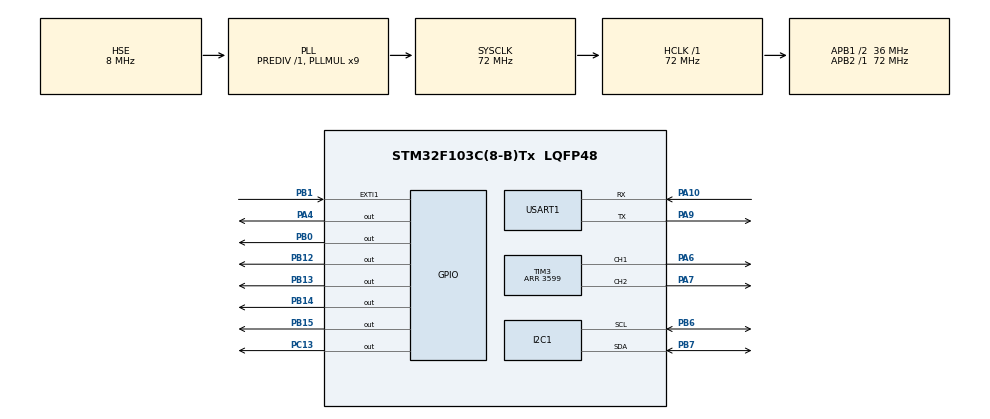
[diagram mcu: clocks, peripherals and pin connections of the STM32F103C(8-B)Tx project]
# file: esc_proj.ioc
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I2C1.I2C_Mode=I2C_Fast
Mcu.Family=STM32F1
Mcu.Name=STM32F103C(8-B)Tx
Mcu.Package=LQFP48
NVIC.EXTI1_IRQn=true\:2\:0\:true\:false\:true\:true\:true\:true
NVIC.PriorityGroup=NVIC_PRIORITYGROUP_4
NVIC.TIM4_IRQn=true\:15\:0\:false\:false\:true\:false\:true\:true
NVIC.TimeBase=TIM4_IRQn
NVIC.TimeBaseIP=TIM4
NVIC.USART1_IRQn=true\:0\:0\:false\:false\:true\:true\:true\:true
PA10.Mode=Asynchronous
PA10.Signal=USART1_RX
PA13.Mode=Serial_Wire
PA13.Signal=SYS_JTMS-SWDIO
PA14.Mode=Serial_Wire
PA14.Signal=SYS_JTCK-SWCLK
PA4.Signal=GPIO_Output
PA6.Signal=S_TIM3_CH1
PA7.Signal=S_TIM3_CH2
PA9.Mode=Asynchronous
PA9.Signal=USART1_TX
PB0.Signal=GPIO_Output
PB1.GPIO_ModeDefaultEXTI=GPIO_MODE_IT_RISING_FALLING
PB1.Signal=GPXTI1
PB12.Signal=GPIO_Output
PB13.Signal=GPIO_Output
PB14.Signal=GPIO_Output
PB15.Signal=GPIO_Output
PB6.Mode=I2C
PB6.Signal=I2C1_SCL
PB7.Mode=I2C
PB7.Signal=I2C1_SDA
PC13-TAMPER-RTC.Signal=GPIO_Output
PD0-OSC_IN.Mode=HSE-External-Oscillator
PD0-OSC_IN.Signal=RCC_OSC_IN
PD1-OSC_OUT.Mode=HSE-External-Oscillator
PD1-OSC_OUT.Signal=RCC_OSC_OUT
ProjectManager.HeapSize=0x200
ProjectManager.StackSize=0x400
ProjectManager.TargetToolchain=STM32CubeIDE
RCC.AHBFreq_Value=72000000
RCC.APB1CLKDivider=RCC_HCLK_DIV2
RCC.APB1Freq_Value=36000000
RCC.APB1TimFreq_Value=72000000
RCC.APB2Freq_Value=72000000
RCC.APB2TimFreq_Value=72000000
RCC.HCLKFreq_Value=72000000
RCC.PLLMUL=RCC_PLL_MUL9
RCC.PLLSourceVirtual=RCC_PLLSOURCE_HSE
RCC.SYSCLKFreq_VALUE=72000000
RCC.SYSCLKSource=RCC_SYSCLKSOURCE_PLLCLK
RCC.USBFreq_Value=72000000
SH.S_TIM3_CH1.0=TIM3_CH1,PWM Generation1 CH1
SH.S_TIM3_CH2.0=TIM3_CH2,PWM Generation2 CH2
TIM3.Channel-PWM\ Generation1\ CH1=TIM_CHANNEL_1
TIM3.Channel-PWM\ Generation2\ CH2=TIM_CHANNEL_2
TIM3.Period=3599
USART1.VirtualMode=VM_ASYNC
VP_SYS_VS_tim4.Mode=TIM4
board=custom

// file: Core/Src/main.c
/* USER CODE BEGIN Header */
/**
  ******************************************************************************
  * @file           : main.c
  * @brief          : Main program body
  ******************************************************************************
  * @attention
  *
  * Copyright (c) 2026 STMicroelectronics.
  * All rights reserved.
  *
  * This software is licensed under terms that can be found in the LICENSE file
  * in the root directory of this software component.
  * If no LICENSE file comes with this software, it is provided AS-IS.
  *
  ******************************************************************************
  */
/* USER CODE END Header */
#include "main.h"

/* USER CODE BEGIN Includes */
   #include <stdio.h>
#include <string.h>
/* USER CODE END Includes */

I2C_HandleTypeDef hi2c1;

TIM_HandleTypeDef htim3;

UART_HandleTypeDef huart1;

/* USER CODE BEGIN PV */

#define MAX_TASKS   4
#define STACK_SIZE  512   // 256 words = 2048 bytes per task

typedef enum {
    TASK_READY = 0,
    TASK_RUNNING,
    TASK_BLOCKED
} TaskState_t;

typedef struct {
    uint32_t   *stackPtr;
    uint32_t    priority;
    TaskState_t state;
    uint32_t    delayTicks;
} TCB_t;

TCB_t    TCB_Table[MAX_TASKS];
uint32_t Task_Stacks[MAX_TASKS][STACK_SIZE] __attribute__((aligned(8)));
uint8_t  current_task_id = 0;

volatile uint32_t sys_ticks = 0;          // incremented by our own SysTick
volatile uint8_t  scheduler_running = 0;
volatile uint32_t count_high = 0, count_mid = 0, count_low = 0;
volatile uint32_t echo_start = 0;
volatile uint32_t echo_width_cycles = 0;
volatile uint8_t  echo_done = 0;
volatile uint32_t distance_cm = 999;     // 999 = nothing in range
volatile uint8_t  obstacle_near = 0;
volatile uint32_t exti_count = 0;
volatile uint32_t deadline_misses = 0;
volatile uint32_t imu_count   = 0;
volatile uint32_t imu_min_us  = 0xFFFFFFFF;
volatile uint32_t imu_max_us  = 0;
volatile int32_t ax_mg = 0, ay_mg = 0, az_mg = 0;   // milli-g
volatile int32_t gz_dps_x10 = 0;                    // tenths of deg/s
volatile uint32_t imu_read_max_us = 0;              // slowest I2C read
#define SKID_ON_DPS_X10   300     // 30.0 deg/s
#define SKID_OFF_DPS_X10  200     // 20.0 deg/s
#define SKID_ON_SAMPLES   5       // 5 x 2 ms  = 10 ms
#define SKID_OFF_SAMPLES  25      // 25 x 2 ms = 50 ms

volatile int32_t  expected_yaw_x10 = 0;   // will come from the motor commands later
volatile uint8_t  skid_flag   = 0;
volatile uint32_t skid_events = 0;
volatile uint32_t i2c_errors = 0;
volatile uint32_t mpu_reinits = 0;
#define IMU_STALE_MS 20            // no good read for 20 ms = data is stale
volatile uint32_t imu_last_ok_tick = 0;
volatile uint8_t  imu_valid = 0;
int32_t ax_off = 0, ay_off = 0, gz_off = 0;   // raw-count offsets from calibration

// ---- virtual skid correction (no motors: outputs go to telemetry/dashboard) ----
#define BASE_SPEED_PCT      60     // commanded straight-line speed
#define KP_DIV              10     // correction % = yaw error (0.1 deg/s units) / 10
#define CORR_MAX_PCT        40
#define CORR_DEADBAND_X10   50     // ignore yaw errors under 5.0 deg/s
#define SKID_THROTTLE_PCT   50     // while skidding, speed is cut to 50%

volatile int32_t cmd_left = 0, cmd_right = 0;   // virtual wheel commands, 0..100 %
volatile uint8_t  rx_byte;
static char       rx_line[24];
static uint8_t    rx_len = 0;
volatile int32_t  tgt_speed_pct = 0;     // set from the PC
volatile int32_t  accel_cms2    = 120;   // set from the PC
volatile uint32_t rx_cmds       = 0;     // count of valid commands received
volatile int32_t corr_pct = 0;                  // steering correction applied
volatile uint8_t ctrl_state = 0;   // 0 run, 1 skid (throttle cut), 2 obstacle stop, 3 sensor fault stop

/* USER CODE END PV */

void SystemClock_Config(void);
static void MX_GPIO_Init(void);
static void MX_USART1_UART_Init(void);
static void MX_I2C1_Init(void);
static void MX_TIM3_Init(void);

/* USER CODE BEGIN 0 */
static void delay_us(uint32_t us)
{
    uint32_t start = DWT->CYCCNT;
    uint32_t ticks = us * 72;            // 72 cycles per microsecond
    while ((DWT->CYCCNT - start) < ticks);
}
// Frees a bus where the sensor is holding SDA low, then restarts I2C1
static void i2c_bus_recover(void)
{
    HAL_I2C_DeInit(&hi2c1);

    GPIO_InitTypeDef g = {0};
    g.Pin   = GPIO_PIN_6 | GPIO_PIN_7;           // PB6 = SCL, PB7 = SDA
    g.Mode  = GPIO_MODE_OUTPUT_OD;
    g.Pull  = GPIO_NOPULL;
    g.Speed = GPIO_SPEED_FREQ_HIGH;
    HAL_GPIO_Init(GPIOB, &g);

    HAL_GPIO_WritePin(GPIOB, GPIO_PIN_6 | GPIO_PIN_7, GPIO_PIN_SET);
    delay_us(10);
    for (int i = 0; i < 9; i++) {                // clock out a stuck slave
        HAL_GPIO_WritePin(GPIOB, GPIO_PIN_6, GPIO_PIN_RESET); delay_us(10);
        HAL_GPIO_WritePin(GPIOB, GPIO_PIN_6, GPIO_PIN_SET);   delay_us(10);
    }
    HAL_GPIO_WritePin(GPIOB, GPIO_PIN_7, GPIO_PIN_RESET); delay_us(10);   // STOP
    HAL_GPIO_WritePin(GPIOB, GPIO_PIN_6, GPIO_PIN_SET);   delay_us(10);
    HAL_GPIO_WritePin(GPIOB, GPIO_PIN_7, GPIO_PIN_SET);   delay_us(10);

    HAL_I2C_Init(&hi2c1);                        // restores the I2C pin setup
}

#define MPU_ADDR (0x68 << 1)
static int mpu_write_verify(uint8_t reg, uint8_t val)
{
    for (int i = 0; i < 5; i++) {
        uint8_t rb = 0xFF;
        if (HAL_I2C_Mem_Write(&hi2c1, MPU_ADDR, reg, I2C_MEMADD_SIZE_8BIT, &val, 1, 10) == HAL_OK &&
            HAL_I2C_Mem_Read(&hi2c1, MPU_ADDR, reg, I2C_MEMADD_SIZE_8BIT, &rb, 1, 10) == HAL_OK &&
            rb == val)
            return 1;                      // written and read back correctly
        HAL_Delay(10);
    }
    return 0;
}

// returns 1 if every setting was written and verified
static int mpu_init(void)
{
    int ok = 1;
    ok &= mpu_write_verify(0x6B, 0x00);    // wake up
    HAL_Delay(100);
    ok &= mpu_write_verify(0x1A, 0x03);    // low-pass filter ~44 Hz
    ok &= mpu_write_verify(0x1B, 0x08);    // gyro  +-500 deg/s
    ok &= mpu_write_verify(0x1C, 0x08);    // accel +-4 g
    return ok;
}

static uint8_t i2c_fail_streak = 0;
static uint8_t i2c_skip = 0;

// Reads raw values. Returns 1 on success, 0 on I2C error.
static int mpu_read_raw(int16_t *ax, int16_t *ay, int16_t *az, int16_t *gz)
{
    uint8_t r[14];

    if (i2c_skip) { i2c_skip--; return 0; }      // backing off, give others CPU time
    if (__HAL_I2C_GET_FLAG(&hi2c1, I2C_FLAG_BUSY)) {   // bus stuck: don't wait 25 ms
        i2c_errors++;
        i2c_bus_recover();
        i2c_skip = 5;
        return 0;
    }

    if (HAL_I2C_Mem_Read(&hi2c1, MPU_ADDR, 0x3B, I2C_MEMADD_SIZE_8BIT, r, 14, 3) != HAL_OK) {
        i2c_errors++;
        if (++i2c_fail_streak >= 3) {
            i2c_bus_recover();
            i2c_fail_streak = 0;
            i2c_skip = 25;                       // pause about 50 ms
        }
        return 0;
    }
    i2c_fail_streak = 0;

    *ax = (int16_t)((r[0]  << 8) | r[1]);
    *ay = (int16_t)((r[2]  << 8) | r[3]);
    *az = (int16_t)((r[4]  << 8) | r[5]);
    *gz = (int16_t)((r[12] << 8) | r[13]);
    return 1;
}

static int mpu_reconfig(void)
{
    int ok = 1;
    ok &= mpu_write_verify(0x6B, 0x00);
    ok &= mpu_write_verify(0x1A, 0x03);
    ok &= mpu_write_verify(0x1B, 0x08);
    ok &= mpu_write_verify(0x1C, 0x08);
    return ok;
}

// If the sensor forgot its settings (power glitch), put them back.
static void mpu_check_config(void)
{
    uint8_t v = 0xFF;
    if (HAL_I2C_Mem_Read(&hi2c1, MPU_ADDR, 0x1C, I2C_MEMADD_SIZE_8BIT, &v, 1, 3) == HAL_OK
        && v != 0x08) {
        if (mpu_reconfig()) mpu_reinits++;
    }
}

// Board must be still. Averages 500 samples (~1 s).
static int mpu_calibrate(void)
{
    int32_t sax = 0, say = 0, sgz = 0;
    int good = 0;
    for (int i = 0; i < 500; i++) {
        int16_t ax, ay, az, gz;
        if (mpu_read_raw(&ax, &ay, &az, &gz)) {
            sax += ax; say += ay; sgz += gz; good++;
        }
        HAL_Delay(2);
    }
    if (good > 0) {
        ax_off = sax / good;
        ay_off = say / good;
        gz_off = sgz / good;
    }
    return good;
}

#define PWM_MAX          3599     // TIM3 period (ARR) from CubeMX
#define MOTOR_LIMIT_PCT  50       // duty cap until we know the motors' rated voltage

// ch 0 = left (A), ch 1 = right (B).  speed: -100 .. +100 (%)
static void motor_set(int ch, int speed)
{
    if (speed > 100)  speed = 100;
    if (speed < -100) speed = -100;

    uint32_t mag  = (uint32_t)(speed < 0 ? -speed : speed);
    uint32_t duty = mag * MOTOR_LIMIT_PCT * PWM_MAX / 10000;
    GPIO_PinState in1 = (speed > 0) ? GPIO_PIN_SET : GPIO_PIN_RESET;
    GPIO_PinState in2 = (speed < 0) ? GPIO_PIN_SET : GPIO_PIN_RESET;

    if (ch == 0) {
        HAL_GPIO_WritePin(GPIOB, GPIO_PIN_12, in1);
        HAL_GPIO_WritePin(GPIOB, GPIO_PIN_13, in2);
        __HAL_TIM_SET_COMPARE(&htim3, TIM_CHANNEL_1, duty);
    } else {
        HAL_GPIO_WritePin(GPIOB, GPIO_PIN_14, in1);
        HAL_GPIO_WritePin(GPIOB, GPIO_PIN_15, in2);
        __HAL_TIM_SET_COMPARE(&htim3, TIM_CHANNEL_2, duty);
    }
}

static void motors_enable(int on)       // STBY pin on PA4
{
    HAL_GPIO_WritePin(GPIOA, GPIO_PIN_4, on ? GPIO_PIN_SET : GPIO_PIN_RESET);
}

static void Task_Exit_Trap(void)
{
    while (1);   // a task should never return; if it does, we get stuck here
}

void Task_Init(uint8_t id, void (*taskFunc)(void), uint32_t priority)
{
    uint32_t *sp = &Task_Stacks[id][STACK_SIZE];   // one past the end

    // Hardware-saved frame
    *(--sp) = 0x01000000;               // xPSR (Thumb bit must be 1)
    *(--sp) = (uint32_t)taskFunc;       // PC: where the task starts
    *(--sp) = (uint32_t)Task_Exit_Trap; // LR: where it goes if it returns
    *(--sp) = 0x12121212;               // R12
    *(--sp) = 0x03030303;               // R3
    *(--sp) = 0x02020202;               // R2
    *(--sp) = 0x01010101;               // R1
    *(--sp) = 0x00000000;               // R0

    // Software-saved frame (pushed by our context switch later)
    *(--sp) = 0x11111111;               // R11
    *(--sp) = 0x10101010;               // R10
    *(--sp) = 0x09090909;               // R9
    *(--sp) = 0x08080808;               // R8
    *(--sp) = 0x07070707;               // R7
    *(--sp) = 0x06060606;               // R6
    *(--sp) = 0x05050505;               // R5
    *(--sp) = 0x04040404;               // R4

    TCB_Table[id].stackPtr   = sp;
    TCB_Table[id].priority   = priority;
    TCB_Table[id].state      = TASK_READY;
    TCB_Table[id].delayTicks = 0;
}

// Sleep the calling task for 'ticks' milliseconds
// Sleep the calling task for 'ticks' milliseconds
void Task_Delay(uint32_t ticks)
{
    __disable_irq();
    TCB_Table[current_task_id].delayTicks = ticks;
    TCB_Table[current_task_id].state      = TASK_BLOCKED;
    __enable_irq();

    SCB->ICSR |= SCB_ICSR_PENDSVSET_Msk;   // give up the CPU right now
    __DSB();
    __ISB();
}
// Sleep until (lastWake + period). Keeps a fixed rhythm with no drift.
// Sleep until (lastWake + period). Keeps a fixed rhythm with no drift.
void Task_DelayUntil(uint32_t *lastWake, uint32_t period)
{
    __disable_irq();
    uint32_t next = *lastWake + period;
    int32_t  wait = (int32_t)(next - sys_ticks);

    if (wait < 0) {                        // deadline missed
        deadline_misses++;
        *lastWake = sys_ticks + 1;         // resync
        wait = 1;                          // still yield 1 tick so others can run
    } else if (wait == 0) {                // exactly on time: keep going
        *lastWake = next;
        __enable_irq();
        return;
    } else {
        *lastWake = next;
    }

    TCB_Table[current_task_id].delayTicks = (uint32_t)wait;
    TCB_Table[current_task_id].state      = TASK_BLOCKED;
    __enable_irq();

    SCB->ICSR |= SCB_ICSR_PENDSVSET_Msk;
    __DSB();
    __ISB();
}
// Called every 1 ms from SysTick: wake sleepers, then ask for a re-evaluation
void Scheduler_Tick(void)
{
    if (!scheduler_running) return;

    for (uint8_t i = 0; i < MAX_TASKS; i++) {
        if (TCB_Table[i].state == TASK_BLOCKED && TCB_Table[i].delayTicks > 0) {
            if (--TCB_Table[i].delayTicks == 0)
                TCB_Table[i].state = TASK_READY;
        }
    }
    SCB->ICSR |= SCB_ICSR_PENDSVSET_Msk;
}

// Picks the highest-priority READY task (lowest number = highest priority)
uint32_t *Scheduler_Switch(uint32_t *oldSp)
{
    __disable_irq();

    TCB_Table[current_task_id].stackPtr = oldSp;
    if (TCB_Table[current_task_id].state == TASK_RUNNING)
        TCB_Table[current_task_id].state = TASK_READY;

    uint8_t  best     = MAX_TASKS - 1;      // idle task is the fallback
    uint32_t bestPrio = 0xFFFFFFFF;
    for (uint8_t i = 0; i < MAX_TASKS; i++) {
        if (TCB_Table[i].state == TASK_READY && TCB_Table[i].priority < bestPrio) {
            bestPrio = TCB_Table[i].priority;
            best     = i;
        }
    }

    current_task_id = best;
    TCB_Table[best].state = TASK_RUNNING;
    uint32_t *sp = TCB_Table[best].stackPtr;

    __enable_irq();
    return sp;
}

static void control_update(void)
{
    int32_t base = BASE_SPEED_PCT;

    if (!imu_valid) {                      // can't trust the sensor: fail-safe stop
        ctrl_state = 3; cmd_left = 0; cmd_right = 0; corr_pct = 0;
        return;
    }
    if (obstacle_near) {                   // obstacle: stop
        ctrl_state = 2; cmd_left = 0; cmd_right = 0; corr_pct = 0;
        return;
    }
    if (skid_flag) { base = base * SKID_THROTTLE_PCT / 100; ctrl_state = 1; }
    else           { ctrl_state = 0; }

    // error > 0 means the car should turn more counter-clockwise
    int32_t err = expected_yaw_x10 - gz_dps_x10;
    int32_t c = 0;
    if (err > CORR_DEADBAND_X10 || err < -CORR_DEADBAND_X10) c = err / KP_DIV;
    if (c >  CORR_MAX_PCT) c =  CORR_MAX_PCT;
    if (c < -CORR_MAX_PCT) c = -CORR_MAX_PCT;
    corr_pct = c;

    int32_t l = base - c;                  // counter-clockwise turn = right wheel faster
    int32_t r = base + c;
    if (l < 0)   l = 0;
    if (l > 100) l = 100;
    if (r < 0)   r = 0;
    if (r > 100) r = 100;
    cmd_left  = l;
    cmd_right = r;
}

#define BRAKE_CMS2  400
volatile int32_t car_speed_mcms = 0;     // speed in 1/1000 cm/s

static void speed_update(void)           // called every 2 ms
{
    int32_t target = tgt_speed_pct * 1000;               // 100 % = 100 cm/s
    if (ctrl_state == 1)       target = target * SKID_THROTTLE_PCT / 100;
    else if (ctrl_state >= 2)  target = 0;                // obstacle or sensor fault

    if (target > car_speed_mcms)
    {
        car_speed_mcms += accel_cms2 * 2;                 // accel * 2 ms
        if (car_speed_mcms > target) car_speed_mcms = target;
    }
    else
    {
        car_speed_mcms -= BRAKE_CMS2 * 2;
        if (car_speed_mcms < target) car_speed_mcms = target;
    }
}
void Task_IMU(void)   // priority 0: every 2 ms
{
    uint32_t last = sys_ticks;
    uint32_t prev = 0;
    uint8_t  started = 0;
    uint8_t  on_cnt = 0, off_cnt = 0;
    uint8_t chk=0;
    imu_last_ok_tick = sys_ticks;

    while (1) {
        uint32_t now = DWT->CYCCNT;
        if (started) {
            uint32_t period_us = (now - prev) / 72;
            if (period_us < imu_min_us) imu_min_us = period_us;
            if (period_us > imu_max_us) imu_max_us = period_us;
        }
        prev = now;
        started = 1;
        imu_count++;

        if (++chk >= 50) { chk = 0; mpu_check_config(); }   // every 100 ms

        int16_t ax, ay, az, gz;
        uint32_t t0 = DWT->CYCCNT;
        int ok = mpu_read_raw(&ax, &ay, &az, &gz);
        uint32_t dur_us = (DWT->CYCCNT - t0) / 72;
        if (dur_us > imu_read_max_us) imu_read_max_us = dur_us;

        if (ok) {
            imu_last_ok_tick = sys_ticks;
            ax_mg      = ((int32_t)ax - ax_off) * 1000 / 8192;
            ay_mg      = ((int32_t)ay - ay_off) * 1000 / 8192;
            az_mg      = (int32_t)az * 1000 / 8192;          // not calibrated: ~1000 when flat
            gz_dps_x10 = ((int32_t)gz - gz_off) * 100 / 655; // 65.5 LSB per deg/s
            int32_t diff = gz_dps_x10 - expected_yaw_x10;
            if (diff < 0) diff = -diff;

            if (!skid_flag) {
                if (diff > SKID_ON_DPS_X10) {
                    if (++on_cnt >= SKID_ON_SAMPLES) {
                        skid_flag = 1;
                        skid_events++;
                        off_cnt = 0;
                    }
                } else {
                    on_cnt = 0;
                }
            } else {
                if (diff < SKID_OFF_DPS_X10) {
                    if (++off_cnt >= SKID_OFF_SAMPLES) {
                        skid_flag = 0;
                        on_cnt = 0;
                    }
                } else {
                    off_cnt = 0;
                }
            }
        }
        imu_valid = ((sys_ticks - imu_last_ok_tick) <= IMU_STALE_MS);
        if (!imu_valid) { on_cnt = 0; off_cnt = 0; }   // don't count skid samples on stale data
        control_update();
        speed_update();

        Task_DelayUntil(&last, 2);
    }
}
void Task_Ultrasonic(void)   // priority 1: every 20 ms
{
    uint32_t last = sys_ticks;
    while (1) {
        echo_done = 0;
        HAL_GPIO_WritePin(GPIOB, GPIO_PIN_0, GPIO_PIN_SET);    // 10 us trigger pulse
        delay_us(10);
        HAL_GPIO_WritePin(GPIOB, GPIO_PIN_0, GPIO_PIN_RESET);

        Task_DelayUntil(&last, 20);                            // echo arrives meanwhile

        uint32_t width_us = echo_width_cycles / 72;
        if (echo_done && width_us < 25000)
            distance_cm = width_us / 58;
        else
            distance_cm = 999;                                 // nothing in range

        obstacle_near = (distance_cm < 20);
    }
}

char tx_buf[240];

void Task_Telemetry(void)   // priority 2: every 100 ms
{
    uint32_t last = sys_ticks;
    while (1) {
        HAL_GPIO_TogglePin(GPIOC, GPIO_PIN_13);   // heartbeat

        int n = snprintf(tx_buf, sizeof(tx_buf),
                         "t=%lu dist=%lu imu=%lu jit[%lu..%lu] rd=%luus gz=%ld ay=%ld az=%ld err=%lu  miss=%lu skid=%u ev=%lu  rst=%lu v=%u L=%ld R=%ld c=%ld st=%u tg=%ld ac=%ld rx=%lu sp=%ld\r\n",
                         (unsigned long)sys_ticks,
                         (unsigned long)distance_cm,
                         (unsigned long)imu_count,
                         (unsigned long)imu_min_us,
                         (unsigned long)imu_max_us,
                         (unsigned long)imu_read_max_us,
                         (long)gz_dps_x10,
                         (long)ay_mg,
                         (long)az_mg,
                         (unsigned long)i2c_errors,
                         (unsigned long)deadline_misses,
                         (unsigned)skid_flag,
                         (unsigned long)skid_events,
                         (unsigned long)mpu_reinits,
                         (unsigned)imu_valid,

                         (long)cmd_left,
                         (long)cmd_right,
                         (long)corr_pct,
                         (unsigned)ctrl_state,
						 (long)tgt_speed_pct,
						 (long)accel_cms2,
						 (unsigned long)rx_cmds,
						 (long)(car_speed_mcms / 1000));
        HAL_UART_Transmit(&huart1, (uint8_t *)tx_buf, (uint16_t)n, 50);
        Task_DelayUntil(&last, 100);
    }
}
void Task_Idle(void)    // priority 3: runs only if nothing else can
{
    while (1) { }
}
// The context switch itself
__attribute__((naked)) void PendSV_Handler(void)
{
    __asm volatile (
        "mrs   r0, psp            \n"  // r0 = running task's stack pointer
        "stmdb r0!, {r4-r11}      \n"  // save R4-R11 onto that stack
        "push  {r3, lr}           \n"  // keep EXC_RETURN safe (r3 keeps alignment)
        "bl    Scheduler_Switch   \n"  // r0 = old sp in, new task's sp out
        "pop   {r3, lr}           \n"
        "ldmia r0!, {r4-r11}      \n"  // restore the next task's R4-R11
        "msr   psp, r0            \n"  // PSP now points at its hardware frame
        "bx    lr                 \n"  // hardware pops the rest and jumps to the task
    );
}

// Starts the very first task (no context to save yet)
__attribute__((naked)) void Start_First_Task(uint32_t *stackTop, uint32_t entry)
{
    __asm volatile (
        "msr  psp, r0      \n"   // task stack
        "movs r2, #2       \n"
        "msr  control, r2  \n"   // thread mode now uses PSP
        "isb               \n"
        "bx   r1           \n"   // jump into the task
    );
}

void Scheduler_Start(void)
{
    NVIC_SetPriority(PendSV_IRQn, 15);   // lowest: never blocks a real interrupt
    NVIC_SetPriority(SysTick_IRQn, 14);

    current_task_id = 0;
    TCB_Table[0].state = TASK_RUNNING;
    scheduler_running = 1;

    uint32_t *sp = TCB_Table[0].stackPtr;
    Start_First_Task(sp + 16, sp[14]);   // skip the 16-word fake frame; sp[14] = task's PC
}

/* USER CODE END 0 */

int main(void)
{

  /* MCU Configuration--------------------------------------------------------*/

  /* Reset of all peripherals, Initializes the Flash interface and the Systick. */
  HAL_Init();

  /* Configure the system clock */
  SystemClock_Config();

  /* Initialize all configured peripherals */
  MX_GPIO_Init();
  MX_USART1_UART_Init();
  MX_I2C1_Init();
  MX_TIM3_Init();
  /* USER CODE BEGIN 2 */
  CoreDebug->DEMCR |= CoreDebug_DEMCR_TRCENA_Msk;
    DWT->CYCCNT = 0;
    DWT->CTRL |= DWT_CTRL_CYCCNTENA_Msk;
    HAL_Delay(300);
    int init_ok = 0;
    for (int tries = 0; tries < 5 && !init_ok; tries++) {
        if (tries) i2c_bus_recover();    // unstick the bus before retrying
        init_ok = mpu_init();
    }
    HAL_Delay(500);                      // keep the board still
    int good = 0;
    for (int tries = 0; tries < 3 && good < 450; tries++)
        good = mpu_calibrate();
    {
        char b[120];
        int n = snprintf(b, sizeof(b),
                         "CAL init=%d good=%d ax_off=%ld ay_off=%ld gz_off=%ld errs=%lu\r\n",
                         init_ok, good, (long)ax_off, (long)ay_off, (long)gz_off,
                         (unsigned long)i2c_errors);
        HAL_UART_Transmit(&huart1, (uint8_t *)b, (uint16_t)n, 100);
    }
    i2c_errors = 0;                      // from here on, count only runtime errors

    HAL_TIM_PWM_Start(&htim3, TIM_CHANNEL_1);
    HAL_TIM_PWM_Start(&htim3, TIM_CHANNEL_2);
    motor_set(0, 0);
    motor_set(1, 0);

    // ---- temporary motor test (remove after it passes) ----
    {
        const char *m = "MOTOR TEST in 5 s - wheels off the ground!\r\n";
        HAL_UART_Transmit(&huart1, (uint8_t *)m, strlen(m), 100);
        HAL_Delay(5000);

        motors_enable(1);
        for (int ch = 0; ch < 2; ch++) {
            motor_set(ch, 50);   HAL_Delay(1000);    // forward
            motor_set(ch, 0);    HAL_Delay(500);
            motor_set(ch, -50);  HAL_Delay(1000);    // reverse
            motor_set(ch, 0);    HAL_Delay(500);
        }
        motor_set(0, 50); motor_set(1, 50); HAL_Delay(1000);   // both forward
        motor_set(0, 0);  motor_set(1, 0);
        motors_enable(0);
        m = "MOTOR TEST done\r\n";
        HAL_UART_Transmit(&huart1, (uint8_t *)m, strlen(m), 100);
    }

  HAL_UART_Receive_IT(&huart1, (uint8_t *)&rx_byte, 1);
  SysTick_Config(SystemCoreClock / 1000);
  Task_Init(0, Task_IMU,       0);
  Task_Init(1, Task_Ultrasonic, 1);
  Task_Init(2, Task_Telemetry,  2);
  Task_Init(3, Task_Idle,       3);
  Scheduler_Start();

  /* USER CODE END 2 */

  /* Infinite loop */
  while (1)
  {

  }
}

void SystemClock_Config(void)
{
  RCC_OscInitTypeDef RCC_OscInitStruct = {0};
  RCC_ClkInitTypeDef RCC_ClkInitStruct = {0};

  /** Initializes the RCC Oscillators according to the specified parameters
  * in the RCC_OscInitTypeDef structure.
  */
  RCC_OscInitStruct.OscillatorType = RCC_OSCILLATORTYPE_HSE;
  RCC_OscInitStruct.HSEState = RCC_HSE_ON;
  RCC_OscInitStruct.HSEPredivValue = RCC_HSE_PREDIV_DIV1;
  RCC_OscInitStruct.HSIState = RCC_HSI_ON;
  RCC_OscInitStruct.PLL.PLLState = RCC_PLL_ON;
  RCC_OscInitStruct.PLL.PLLSource = RCC_PLLSOURCE_HSE;
  RCC_OscInitStruct.PLL.PLLMUL = RCC_PLL_MUL9;
  if (HAL_RCC_OscConfig(&RCC_OscInitStruct) != HAL_OK)
  {
    Error_Handler();
  }

  /** Initializes the CPU, AHB and APB buses clocks
  */
  RCC_ClkInitStruct.ClockType = RCC_CLOCKTYPE_HCLK|RCC_CLOCKTYPE_SYSCLK
                              |RCC_CLOCKTYPE_PCLK1|RCC_CLOCKTYPE_PCLK2;
  RCC_ClkInitStruct.SYSCLKSource = RCC_SYSCLKSOURCE_PLLCLK;
  RCC_ClkInitStruct.AHBCLKDivider = RCC_SYSCLK_DIV1;
  RCC_ClkInitStruct.APB1CLKDivider = RCC_HCLK_DIV2;
  RCC_ClkInitStruct.APB2CLKDivider = RCC_HCLK_DIV1;

  if (HAL_RCC_ClockConfig(&RCC_ClkInitStruct, FLASH_LATENCY_2) != HAL_OK)
  {
    Error_Handler();
  }
}

static void MX_I2C1_Init(void)
{

  hi2c1.Instance = I2C1;
  hi2c1.Init.ClockSpeed = 400000;
  hi2c1.Init.DutyCycle = I2C_DUTYCYCLE_2;
  hi2c1.Init.OwnAddress1 = 0;
  hi2c1.Init.AddressingMode = I2C_ADDRESSINGMODE_7BIT;
  hi2c1.Init.DualAddressMode = I2C_DUALADDRESS_DISABLE;
  hi2c1.Init.OwnAddress2 = 0;
  hi2c1.Init.GeneralCallMode = I2C_GENERALCALL_DISABLE;
  hi2c1.Init.NoStretchMode = I2C_NOSTRETCH_DISABLE;
  if (HAL_I2C_Init(&hi2c1) != HAL_OK)
  {
    Error_Handler();
  }

}

static void MX_TIM3_Init(void)
{

  TIM_MasterConfigTypeDef sMasterConfig = {0};
  TIM_OC_InitTypeDef sConfigOC = {0};

  htim3.Instance = TIM3;
  htim3.Init.Prescaler = 0;
  htim3.Init.CounterMode = TIM_COUNTERMODE_UP;
  htim3.Init.Period = 3599;
  htim3.Init.ClockDivision = TIM_CLOCKDIVISION_DIV1;
  htim3.Init.AutoReloadPreload = TIM_AUTORELOAD_PRELOAD_DISABLE;
  if (HAL_TIM_PWM_Init(&htim3) != HAL_OK)
  {
    Error_Handler();
  }
  sMasterConfig.MasterOutputTrigger = TIM_TRGO_RESET;
  sMasterConfig.MasterSlaveMode = TIM_MASTERSLAVEMODE_DISABLE;
  if (HAL_TIMEx_MasterConfigSynchronization(&htim3, &sMasterConfig) != HAL_OK)
  {
    Error_Handler();
  }
  sConfigOC.OCMode = TIM_OCMODE_PWM1;
  sConfigOC.Pulse = 0;
  sConfigOC.OCPolarity = TIM_OCPOLARITY_HIGH;
  sConfigOC.OCFastMode = TIM_OCFAST_DISABLE;
  if (HAL_TIM_PWM_ConfigChannel(&htim3, &sConfigOC, TIM_CHANNEL_1) != HAL_OK)
  {
    Error_Handler();
  }
  if (HAL_TIM_PWM_ConfigChannel(&htim3, &sConfigOC, TIM_CHANNEL_2) != HAL_OK)
  {
    Error_Handler();
  }
  HAL_TIM_MspPostInit(&htim3);

}

static void MX_USART1_UART_Init(void)
{

  huart1.Instance = USART1;
  huart1.Init.BaudRate = 115200;
  huart1.Init.WordLength = UART_WORDLENGTH_8B;
  huart1.Init.StopBits = UART_STOPBITS_1;
  huart1.Init.Parity = UART_PARITY_NONE;
  huart1.Init.Mode = UART_MODE_TX_RX;
  huart1.Init.HwFlowCtl = UART_HWCONTROL_NONE;
  huart1.Init.OverSampling = UART_OVERSAMPLING_16;
  if (HAL_UART_Init(&huart1) != HAL_OK)
  {
    Error_Handler();
  }

}

static void MX_GPIO_Init(void)
{
  GPIO_InitTypeDef GPIO_InitStruct = {0};

  /* GPIO Ports Clock Enable */
  __HAL_RCC_GPIOC_CLK_ENABLE();
  __HAL_RCC_GPIOD_CLK_ENABLE();
  __HAL_RCC_GPIOA_CLK_ENABLE();
  __HAL_RCC_GPIOB_CLK_ENABLE();

  /*Configure GPIO pin Output Level */
  HAL_GPIO_WritePin(GPIOC, GPIO_PIN_13, GPIO_PIN_RESET);

  /*Configure GPIO pin Output Level */
  HAL_GPIO_WritePin(GPIOA, GPIO_PIN_4, GPIO_PIN_RESET);

  /*Configure GPIO pin Output Level */
  HAL_GPIO_WritePin(GPIOB, GPIO_PIN_0|GPIO_PIN_12|GPIO_PIN_13|GPIO_PIN_14
                          |GPIO_PIN_15, GPIO_PIN_RESET);

  /*Configure GPIO pin : PC13 */
  GPIO_InitStruct.Pin = GPIO_PIN_13;
  GPIO_InitStruct.Mode = GPIO_MODE_OUTPUT_PP;
  GPIO_InitStruct.Pull = GPIO_NOPULL;
  GPIO_InitStruct.Speed = GPIO_SPEED_FREQ_LOW;
  HAL_GPIO_Init(GPIOC, &GPIO_InitStruct);

  /*Configure GPIO pin : PA4 */
  GPIO_InitStruct.Pin = GPIO_PIN_4;
  GPIO_InitStruct.Mode = GPIO_MODE_OUTPUT_PP;
  GPIO_InitStruct.Pull = GPIO_NOPULL;
  GPIO_InitStruct.Speed = GPIO_SPEED_FREQ_LOW;
  HAL_GPIO_Init(GPIOA, &GPIO_InitStruct);

  /*Configure GPIO pins : PB0 PB12 PB13 PB14
                           PB15 */
  GPIO_InitStruct.Pin = GPIO_PIN_0|GPIO_PIN_12|GPIO_PIN_13|GPIO_PIN_14
                          |GPIO_PIN_15;
  GPIO_InitStruct.Mode = GPIO_MODE_OUTPUT_PP;
  GPIO_InitStruct.Pull = GPIO_NOPULL;
  GPIO_InitStruct.Speed = GPIO_SPEED_FREQ_LOW;
  HAL_GPIO_Init(GPIOB, &GPIO_InitStruct);

  /*Configure GPIO pin : PB1 */
  GPIO_InitStruct.Pin = GPIO_PIN_1;
  GPIO_InitStruct.Mode = GPIO_MODE_IT_RISING_FALLING;
  GPIO_InitStruct.Pull = GPIO_NOPULL;
  HAL_GPIO_Init(GPIOB, &GPIO_InitStruct);

  /* EXTI interrupt init*/
  HAL_NVIC_SetPriority(EXTI1_IRQn, 2, 0);
  HAL_NVIC_EnableIRQ(EXTI1_IRQn);

}

/* USER CODE BEGIN 4 */
void HAL_GPIO_EXTI_Callback(uint16_t GPIO_Pin)
{
    if (GPIO_Pin == GPIO_PIN_1) {
    	   exti_count++;
        if (HAL_GPIO_ReadPin(GPIOB, GPIO_PIN_1) == GPIO_PIN_SET)
            echo_start = DWT->CYCCNT;                          // rising edge
        else {
            echo_width_cycles = DWT->CYCCNT - echo_start;      // falling edge
            echo_done = 1;
        }
    }
}

void HAL_UART_RxCpltCallback(UART_HandleTypeDef *huart)
{
    if (huart->Instance == USART1)
    {
        char c = (char)rx_byte;
        if (c == '\n' || c == '\r')
        {
            if (rx_len > 0)
            {
                rx_line[rx_len] = 0;
                // expected format: S<speed>,<accel>   e.g. S80,200
                if (rx_line[0] == 'S')
                {
                    int32_t a = 0, b = 0;
                    uint8_t i = 1;
                    while (rx_line[i] >= '0' && rx_line[i] <= '9') { a = a * 10 + (rx_line[i] - '0'); i++; }
                    if (rx_line[i] == ',')
                    {
                        i++;
                        while (rx_line[i] >= '0' && rx_line[i] <= '9') { b = b * 10 + (rx_line[i] - '0'); i++; }
                        if (rx_line[i] == 0 && a <= 100 && b >= 20 && b <= 300)
                        {
                            tgt_speed_pct = a;
                            accel_cms2 = b;
                            rx_cmds++;
                        }
                    }
                }
                rx_len = 0;
            }
        }
        else if (rx_len < sizeof(rx_line) - 1) { rx_line[rx_len++] = c; }
        else { rx_len = 0; }
        HAL_UART_Receive_IT(&huart1, (uint8_t *)&rx_byte, 1);
    }
}

void HAL_UART_ErrorCallback(UART_HandleTypeDef *huart)
{
    if (huart->Instance == USART1)
    {
        rx_len = 0;
        HAL_UART_Receive_IT(&huart1, (uint8_t *)&rx_byte, 1);
    }
}
/* USER CODE END 4 */

void HAL_TIM_PeriodElapsedCallback(TIM_HandleTypeDef *htim)
{
  if (htim->Instance == TIM4)
  {
    HAL_IncTick();
  }
}

void Error_Handler(void)
{
  __disable_irq();
  while (1)
  {
  }
}
